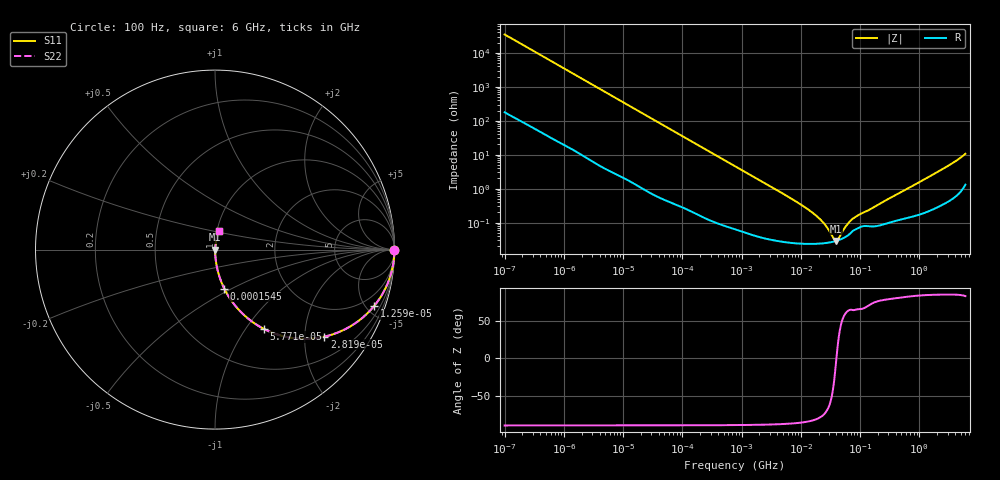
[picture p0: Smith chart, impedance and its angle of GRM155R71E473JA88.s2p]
!Murata Part Number: GRM155R71E473JA88
!These Parameters are Measured in Series Mode Connection
!Data Generated on Mar 30, 2021
!  o--ll--o
!Port1  Port2
!  o------o
!Operation Temp=25[degC], DC Bias Voltage=0[V]
!Freq. Start=100[Hz] Stop=6[GHz] 401[Steps]
# Hz S RI R 50
!Freq.(Hz) S11(Real) S11(Imag) S21(Real) S21(Imag) S12(Real) S12(Imag) S22(Real) S22(Imag)
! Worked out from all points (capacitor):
!   401 points, 100 Hz to 6 GHz, reference 50 ohm
!   read as one part in series: C = 46 nF near 109 Hz
!   lowest |Z| = 29.1 mohm at 39.84 MHz (marker M1)
!   series resonance near 39.92 MHz, so ESL is about 350 pH
!   S11 on the Smith chart (normalised r, x): 100 Hz: open; 12.59 kHz: 1.03, -5.59; 28.19 kHz: 1.02, -2.50; 57.71 kHz: 1.01, -1.23; 154.5 kHz: 1.00, -0.46; 6 GHz: 1.03, +0.21
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100  1 -0.00289  2.32e-05 0.00289  2.32e-05 0.00289  1 -0.00289
2008  0.9964 -0.0572  0.00361 0.0572  0.00361 0.0572  0.9964 -0.0572
5378  0.9762 -0.1497  0.0238 0.1497  0.0238 0.1497  0.9762 -0.1497
12592  0.8849 -0.3162  0.1151 0.3162  0.1151 0.3162  0.8849 -0.3162
28191  0.6095 -0.4848  0.3905 0.4848  0.3905 0.4848  0.6095 -0.4848
40335  0.4343 -0.4925  0.5657 0.4925  0.5657 0.4925  0.4343 -0.4925
57709  0.2743 -0.4427  0.7257 0.4427  0.7257 0.4427  0.2743 -0.4427
90302  0.1353 -0.3382  0.8647 0.3382  0.8647 0.3382  0.1353 -0.3382
154540  0.0519 -0.2175  0.9481 0.2175  0.9481 0.2175  0.0519 -0.2175
316350  0.0136 -0.111  0.9864 0.111  0.9864 0.111  0.0136 -0.111
774597  0.00276 -0.0461  0.9972 0.0461  0.9972 0.0461  0.00276 -0.0461
6353432  0.000288 -0.00556  0.9997 0.00556  0.9997 0.00556  0.000288 -0.00556
1.555665e7  0.000241 -0.00198  0.9998 0.00198  0.9998 0.00198  0.000241 -0.00198
2.327686e7  0.000246 -0.00103  0.9998 0.00103  0.9998 0.00103  0.000246 -0.00103
3.64232e7  0.000279 -0.000167  0.9997 0.000167  0.9997 0.000167  0.000279 -0.000167
3.983537e7  0.000291 -3.8e-06  0.9997 3.8e-06  0.9997 3.8e-06  0.000291 -3.8e-06
4.35672e7  0.000306 0.000159  0.9997 -0.000159  0.9997 -0.000159  0.000306 0.000159
5.960426e7  0.0004 0.000745  0.9996 -0.000745  0.9996 -0.000745  0.0004 0.000745
7.455971e7  0.00056 0.00116  0.9994 -0.00116  0.9994 -0.00116  0.00056 0.00116
3.124326e8  0.00102 0.00508  0.999 -0.00508  0.999 -0.00508  0.00102 0.00508
2.450438e9  0.0047 0.037  0.9953 -0.037  0.9953 -0.037  0.0047 0.037
6e9  0.0236 0.1016  0.9764 -0.1016  0.9764 -0.1016  0.0236 0.1016
